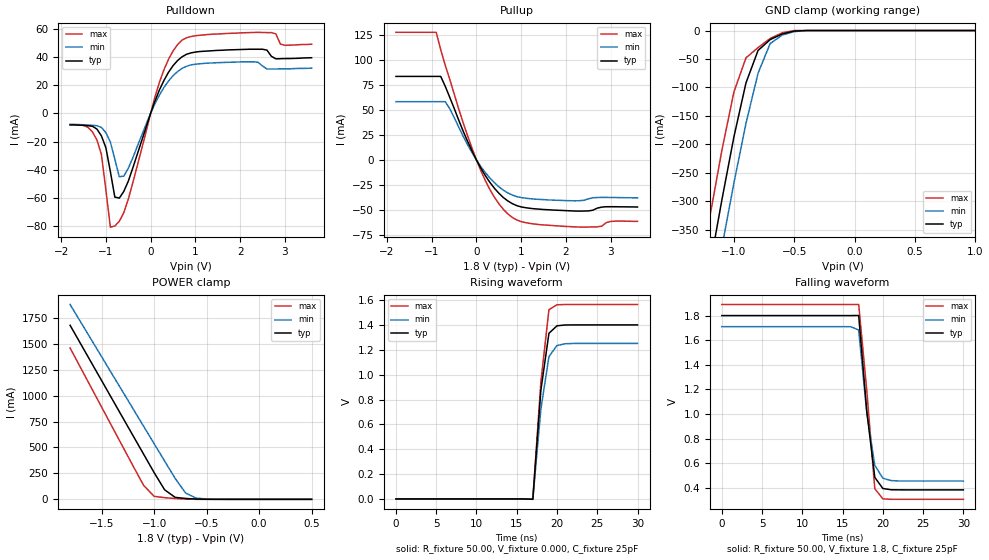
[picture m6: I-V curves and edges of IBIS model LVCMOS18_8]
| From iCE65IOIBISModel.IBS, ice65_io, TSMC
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|   Model LVCMOS18_8
[Model]   LVCMOS18_8
Model_type   I/O
Polarity   Non-Inverting
Enable   Active-High
Vinl =   0.63V
Vinh =   1.17V
Vmeas =   0.9V
Cref =  15.00pF
Rref =   1.00M
Vref =  0.000V
C_comp   1.30pF   1.17pF   1.43pF
[Temperature Range]   25.00   85   -40.00
[Voltage Range]   1.8V   1.71V   1.89V
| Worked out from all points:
|   slope of the pulldown table from 0 to 0.27 V, typ, clamps not added: 12.6 ohm
|   slope of the pullup table from 0 to 0.27 V, typ, clamps not added: 13.3 ohm
|   GND clamp passes 1 mA (typ) near -0.50 V on its own axis
|   POWER clamp passes 1 mA (typ) near -0.52 V on its own axis
|   rising waveform, R_fixture 50.00, V_fixture 0.000, C_fixture 25pF: 20-80 % time 1.21ns typ, 1.31ns min, 1.2ns max; typ from 0 V to 1.4 V
|   falling waveform, R_fixture 50.00, V_fixture 1.8, C_fixture 25pF: 20-80 % time 1.3ns typ, 1.38ns min, 1.26ns max; typ from 1.8 V to 0.384 V
[Pulldown]
| voltage I(typ) I(min) I(max)
-1.8V     -8.1mA     -7.7mA     -7.9mA
-1.2V     -11.1mA    -8.7mA     -18.8mA
-1.1V     -15.9mA    -9.9mA     -29mA
-900mV    -41.2mA    -20.3mA    -80.6mA
-800mV    -59.3mA    -32.4mA    -79.8mA
-700mV    -60mA      -44.9mA    -76.4mA
-600mV    -55.3mA    -44.4mA    -70.4mA
200mV     16.9mA     13.2mA     22.4mA
700mV     40.1mA     31.9mA     51.9mA
2.7V      40.5mA     31.5mA     57.3mA
2.9V      38.8mA     31.6mA     49.2mA
3.6V      39.5mA     32.1mA     49.1mA
[Pullup]
| voltage I(typ) I(min) I(max)
-1.8V     83.4mA     58.2mA     127.4mA
-900mV    83.4mA     58.2mA     127.4mA
-800mV    83.4mA     58.2mA     110.2mA
-700mV    73.7mA     58.2mA     94.8mA
-300mV    29mA       23.9mA     37.4mA
0V        -100uA     -100uA     -100uA
400mV     -28.2mA    -22.7mA    -37.1mA
800mV     -43.6mA    -35mA      -57.4mA
1.2V      -48.3mA    -38.7mA    -63.4mA
2.3V      -51.1mA    -40.7mA    -67mA
3V        -46.7mA    -37.5mA    -61.4mA
3.6V      -47mA      -37.8mA    -61.3mA
[GND_clamp]
| voltage I(typ) I(min) I(max)
-1.8V     -1.146A    -1.208A    -1.081A
-1.3V     -535mA     -613mA     -451mA
-1.2V     -416mA     -496mA     -328mA
-1.1V     -298mA     -381mA     -211mA
-1V       -187mA     -268mA     -108mA
-900mV    -92mA      -163mA     -48mA
-800mV    -35mA      -75mA      -30mA
-700mV    -16mA      -23mA      -14mA
-600mV    -6mA       -8mA       -4mA
-500mV    -1mA       -2mA       0A
-400mV    0A         0A         0A
1V        0A         0A         0A
[POWER_clamp]
| voltage I(typ) I(min) I(max)
-1.8V     1.678A     1.879A     1.459A
-1.1V     435.3mA    704.4mA    134.7mA
-1V       257.9mA    536.9mA    28.9mA
-900mV    91.8mA     369.3mA    15.8mA
-800mV    19.2mA     202.2mA    8mA
-700mV    8.2mA      60.4mA     2.3mA
-600mV    3mA        11.6mA     100uA
-400mV    0A         800uA      0A
500mV     0A         0A         0A
[Ramp]
| variable   typ   min   max
dV/dt_r   0.8412/0.9058n   0.7518/1.261n   0.9396/0.826n
dV/dt_f   0.84936/1.1701n  0.752436/1.361n  0.949494/0.9536n
R_load = 50
[Rising Waveform]
R_fixture = 50.00
V_fixture = 0.000
V_fixture_min = 0.000
V_fixture_max = 0.000
L_fixture = 0.000H
C_fixture = 25pF
| time   V(typ)   V(min)   V(max)
0s        0V         0V         0V
17ns      -3mV       0V         0V
18ns      877mV      723.2mV    943mV
19ns      1.334V     1.147V     1.525V
20ns      1.395V     1.236V     1.564V
21ns      1.401V     1.25V      1.566V
30ns      1.402V     1.253V     1.566V
[Falling Waveform]
R_fixture = 50.00
V_fixture = 1.8
V_fixture_min = 1.71
V_fixture_max = 1.89
L_fixture = 0.000H
C_fixture = 25pF
| time   V(typ)   V(min)   V(max)
0s        1.8V       1.71V      1.89V
16ns      1.8V       1.71V      1.89V
17ns      1.801V     1.683V     1.89V
18ns      1.027V     1.012V     1.196V
19ns      486mV      584.3mV    394.3mV
20ns      395.4mV    479.1mV    311.5mV
21ns      385.5mV    459.9mV    307.6mV
30ns      384.4mV    455.9mV    307.5mV
